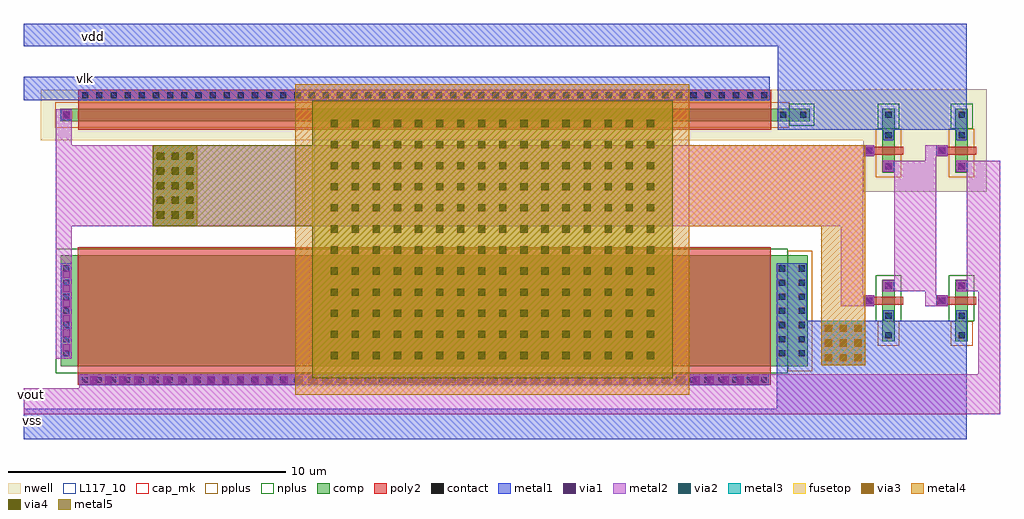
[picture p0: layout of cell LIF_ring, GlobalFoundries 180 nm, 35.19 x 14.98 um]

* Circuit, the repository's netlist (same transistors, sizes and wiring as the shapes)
** sch_path: /foss/designs/Mosbious_2025_Spikcore/designs/libs/core_LIF_ring/LIF_ring.sch
.subckt LIF_ring vdd vlk vout vss
*.PININFO vdd:B vss:B vout:B vlk:B
XM2 inv1 vlk vdd vdd pfet_03v3 L=25u W=0.45u nf=1 m=1
XM4 net1 inv1 vdd vdd pfet_03v3 L=0.28u W=0.45u nf=1 m=1
XM1 inv1 vout vss vss nfet_03v3 L=25u W=4u nf=1 m=1
XM3 net1 inv1 vss vss nfet_03v3 L=0.28u W=0.45u nf=1 m=1
XM5 vout net1 vdd vdd pfet_03v3 L=0.28u W=0.45u nf=1 m=1
XM6 vout net1 vss vss nfet_03v3 L=0.28u W=0.45u nf=1 m=1
XC2 inv1 vss cap_mim_2f0fF c_width=10e-6 c_length=13e-6 m=1
.ends

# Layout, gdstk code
from math import pi, radians
import gdstk
lib = gdstk.Library(unit=1e-6, precision=5e-09)
def R(c, l, rs):  # rectangles x0, y0, x1, y1
    for r in rs: c.add(gdstk.rectangle(r[:2], r[2:], *l))
def A(c, l, x, y, w, h, nx, ny, dx, dy):  # array of equal rectangles
    R(c, l, [(x+i*dx, y+j*dy, x+i*dx+w, y+j*dy+h) for i in range(nx) for j in range(ny)])
def P(c, l, *ps):  # polygons
    for p in ps: c.add(gdstk.Polygon(p, *l))
nwell = (21, 0)
comp = (22, 0)
poly2 = (30, 0)
pplus = (31, 0)
nplus = (32, 0)
contact = (33, 0)
metal1 = (34, 0)
via1 = (35, 0)
metal2 = (36, 0)
via2 = (38, 0)
via3 = (40, 0)
via4 = (41, 0)
metal3 = (42, 0)
metal4 = (46, 0)
fusetop = (75, 0)
metal5 = (81, 0)
cap_mk = (117, 5)
L117_10 = (117, 10)

nfet = lib.new_cell('nfet')
R(nfet, comp, [(-0.42,0,0,0.45), (0,0,0.66,0.45), (0.66,0,1.08,0.45), (1.08,0,1.79,0.45)])
R(nfet, poly2, [(0.15,-0.66,0.51,-0.3), (0.19,-0.3,0.47,0.75)])
R(nfet, pplus, [(1.08,-0.17,1.96,0.62)])
R(nfet, nplus, [(-0.59,-0.24,1.08,0.69)])
R(nfet, contact, [(0.22,-0.59,0.44,-0.37), (-0.32,0.115,-0.1,0.335), (0.76,0.115,0.98,0.335), (1.47,0.115,1.69,0.335)])
R(nfet, metal1, [(0.14,-0.67,0.52,-0.29), (-0.4,0.035,-0.02,0.415), (0.68,0.035,1.06,0.415), (1.39,0.035,1.77,0.415)])

pfet = lib.new_cell('pfet')

pfet_3 = lib.new_cell('pfet$3')
R(pfet_3, nwell, [(-1.15,-0.69,2.54,1.14)])
R(pfet_3, comp, [(-0.46,0,0,0.45), (0,0,0.66,0.45), (0.66,0,1.12,0.45), (1.12,0,1.85,0.45)])
R(pfet_3, poly2, [(0.19,-0.3,0.47,0.75), (0.14,0.75,0.52,1.13)])
R(pfet_3, pplus, [(-0.63,-0.24,1.12,0.69)])
R(pfet_3, nplus, [(1.12,-0.17,2.02,0.62)])
R(pfet_3, contact, [(-0.34,0.115,-0.12,0.335), (0.78,0.115,1,0.335), (1.51,0.115,1.73,0.335), (0.22,0.83,0.44,1.05)])
R(pfet_3, metal1, [(-0.42,0.035,-0.04,0.415), (0.7,0.035,1.08,0.415), (1.43,0.035,1.81,0.415), (0.14,0.75,0.52,1.13)])

pfet_4 = lib.new_cell('pfet$4')
R(pfet_4, nwell, [(-1.15,-0.69,27.26,1.14)])
R(pfet_4, comp, [(-0.46,0,0,0.45), (0,0,25.38,0.45), (25.38,0,25.84,0.45), (25.84,0,26.57,0.45)])
R(pfet_4, poly2, [(0.19,-0.3,25.19,0.75), (0.19,0.75,25.19,1.13)])
R(pfet_4, pplus, [(-0.63,-0.24,25.84,0.69)])
R(pfet_4, nplus, [(25.84,-0.17,26.74,0.62)])
A(pfet_4, contact, 0.34, 0.83, 0.22, 0.22, 49, 1, 0.51, 0)
R(pfet_4, contact, [(-0.34,0.115,-0.12,0.335), (25.5,0.115,25.72,0.335), (26.23,0.115,26.45,0.335)])
R(pfet_4, metal1, [(-0.42,0.035,-0.04,0.415), (25.42,0.035,25.8,0.415), (26.15,0.035,26.53,0.415), (0.26,0.75,25.12,1.13)])

nfet_1 = lib.new_cell('nfet$1')
R(nfet_1, comp, [(-0.42,0,0,4), (0,0,25.38,4), (25.38,0,25.8,4), (25.8,0,26.51,4)])
R(nfet_1, poly2, [(0.19,-0.66,25.19,-0.3), (0.19,-0.3,25.19,4.3)])
R(nfet_1, pplus, [(25.8,-0.17,26.68,4.17)])
R(nfet_1, nplus, [(-0.59,-0.24,25.8,4.24)])
A(nfet_1, contact, 0.34, -0.59, 0.22, 0.22, 49, 1, 0.51, 0)
A(nfet_1, contact, -0.32, 0.36, 0.22, 0.22, 1, 7, 0, 0.51)
A(nfet_1, contact, 25.48, 0.36, 0.22, 0.22, 1, 7, 0, 0.51)
A(nfet_1, contact, 26.19, 0.36, 0.22, 0.22, 1, 7, 0, 0.51)
R(nfet_1, metal1, [(0.26,-0.67,25.12,-0.29), (-0.4,0.28,-0.02,3.72), (25.4,0.28,25.78,3.72), (26.11,0.28,26.49,3.72)])

via_dev_1 = lib.new_cell('via_dev$1')
R(via_dev_1, metal1, [(0,0,0.4,0.4)])
R(via_dev_1, via1, [(0.07,0.07,0.33,0.33)])
R(via_dev_1, metal2, [(0,0,0.4,0.4)])

via_dev = lib.new_cell('via_dev')
R(via_dev, metal1, [(0,0,24.86,0.4)])
A(via_dev, via1, 0.375, 0.07, 0.26, 0.26, 46, 1, 0.53, 0)
R(via_dev, metal2, [(0,0,24.86,0.4)])

via_dev_2 = lib.new_cell('via_dev$2')
R(via_dev_2, metal1, [(0,0,0.4,3.44)])
A(via_dev_2, via1, 0.07, 0.265, 0.26, 0.26, 1, 6, 0, 0.53)
R(via_dev_2, metal2, [(0,0,0.4,3.44)])

cap_mim_1 = lib.new_cell('cap_mim$1')
A(cap_mim_1, via4, 0.69, 0.67, 0.26, 0.26, 12, 16, 0.76, 0.76)
R(cap_mim_1, metal4, [(-0.6,-0.6,10.6,13.6)])
R(cap_mim_1, fusetop, [(0,0,10,13)])
R(cap_mim_1, metal5, [(0,0,10,13)])
R(cap_mim_1, cap_mk, [(-0.6,-0.6,10.6,13.6)])
R(cap_mim_1, L117_10, [(0,0,10,0.1)])

via_dev_6 = lib.new_cell('via_dev$6')
R(via_dev_6, metal2, [(0,0,1.6,2.92)])
A(via_dev_6, via2, 0.14, 0.27, 0.26, 0.26, 3, 5, 0.53, 0.53)
A(via_dev_6, via3, 0.14, 0.27, 0.26, 0.26, 3, 5, 0.53, 0.53)
A(via_dev_6, via4, 0.14, 0.27, 0.26, 0.26, 3, 5, 0.53, 0.53)
R(via_dev_6, metal3, [(0,0,1.6,2.92)])
R(via_dev_6, metal4, [(0,0,1.6,2.92)])
R(via_dev_6, metal5, [(0,0,1.6,2.92)])

via_dev_7 = lib.new_cell('via_dev$7')
R(via_dev_7, metal1, [(0,0,1.6,1.6)])
A(via_dev_7, via1, 0.14, 0.14, 0.26, 0.26, 3, 3, 0.53, 0.53)
R(via_dev_7, metal2, [(0,0,1.6,1.6)])
A(via_dev_7, via2, 0.14, 0.14, 0.26, 0.26, 3, 3, 0.53, 0.53)
A(via_dev_7, via3, 0.14, 0.14, 0.26, 0.26, 3, 3, 0.53, 0.53)
R(via_dev_7, metal3, [(0,0,1.6,1.6)])
R(via_dev_7, metal4, [(0,0,1.6,1.6)])

lif_ring = lib.new_cell('LIF_ring')
R(lif_ring, nwell, [(0.88,3.845,0.89,7.535), (0.89,3.845,1.695,7.535), (-2.175,5.7,-0.94,7.53)])
R(lif_ring, metal1, [(-0.215,-1.52,0.165,-1.14), (1.705,5.135,2.085,5.515)])
P(lif_ring, metal1, [(-4.015,6.075),(-4.015,9.09),(-31.195,9.09),(-31.195,9.905),(2.8,9.905),(2.8,6.075)],
  [(-31.195,-5.08),(-31.195,-3.975),(-4.055,-3.975),(-4.055,1.27),(-2.965,1.27),(-2.965,-0.81),(2.8,-0.81),(2.8,-5.08)],
  [(-29.175,7.14),(-29.175,7.145),(-31.195,7.145),(-31.195,7.995),(-4.315,7.995),(-4.315,7.14)])
R(lif_ring, metal2, [(-30.045,-2.17,-29.465,6.815), (-1.75,-0.28,-0.93,5.525), (1.305,-0.28,1.705,5.525), (0.175,0.26,1.705,4.965), (-29.465,2.605,-1.75,5.525)])
P(lif_ring, metal2, [(-31.195,-4.185),(-31.195,-3.245),(-29.195,-3.245),(-29.195,-2.74),(3.21,-2.74),(3.21,0.26),(2.41,0.26),(2.41,0.66),(2.8,0.66),(2.8,4.565),(2.41,4.565),(2.41,4.965),(3.995,4.965),(3.995,-4.185)])
P(lif_ring, metal4, [(-2.455,-1.265),(-2.455,2.605),(-7.21,2.605),(-7.21,5.525),(-2.455,5.525),(-0.855,5.525),(-0.855,-1.265),(-1.75,-1.265)])
R(lif_ring, metal5, [(-24.945,2.605,-20.81,5.525)])
lif_ring.add(gdstk.Reference(nfet, (-0.25,0.25), rotation=3*pi/2))
lif_ring.add(gdstk.Reference(nfet, (2.385,0.25), rotation=3*pi/2))
lif_ring.add(gdstk.Reference(pfet, (-1.225,4.2), rotation=3*pi/2))
lif_ring.add(gdstk.Reference(pfet_3, (2.835,4.995), rotation=pi/2))
lif_ring.add(gdstk.Reference(pfet_3, (0.2,4.995), rotation=pi/2))
lif_ring.add(gdstk.Reference(pfet_4, (-29.435,6.39)))
lif_ring.add(gdstk.Reference(nfet_1, (-29.455,-2.45)))
lif_ring.add(gdstk.Reference(via_dev_1, (1.705,5.125)))
lif_ring.add(gdstk.Reference(via_dev_1, (2.41,0.26)))
lif_ring.add(gdstk.Reference(via_dev_1, (2.41,4.565)))
lif_ring.add(gdstk.Reference(via_dev_1, (-0.225,0.26)))
lif_ring.add(gdstk.Reference(via_dev_1, (-0.225,4.565)))
lif_ring.add(gdstk.Reference(via_dev_1, (-0.93,5.125)))
lif_ring.add(gdstk.Reference(via_dev_1, (-0.93,-0.28)))
lif_ring.add(gdstk.Reference(via_dev_1, (1.705,-0.28)))
lif_ring.add(gdstk.Reference(via_dev_1, (-29.865,6.415)))
lif_ring.add(gdstk.Reference(via_dev, (-29.195,-3.14)))
lif_ring.add(gdstk.Reference(via_dev_2, (-29.865,-2.17)))
lif_ring.add(gdstk.Reference(cap_mim_1, (-20.81,7.125), rotation=3*pi/2))
lif_ring.add(gdstk.Reference(via_dev_6, (-26.545,2.605)))
lif_ring.add(gdstk.Reference(via_dev_7, (-2.455,-2.41)))
lif_ring.add(gdstk.Label('vlk', (-28.98,7.925), layer=34, texttype=10))
lif_ring.add(gdstk.Label('vdd', (-28.69,9.435), layer=34, texttype=10))
lif_ring.add(gdstk.Label('vss', (-30.88,-4.39), layer=34, texttype=10))
lif_ring.add(gdstk.Label('vout', (-30.915,-3.45), layer=36, texttype=10))

lib.write_gds('LIF_ring.gds')
